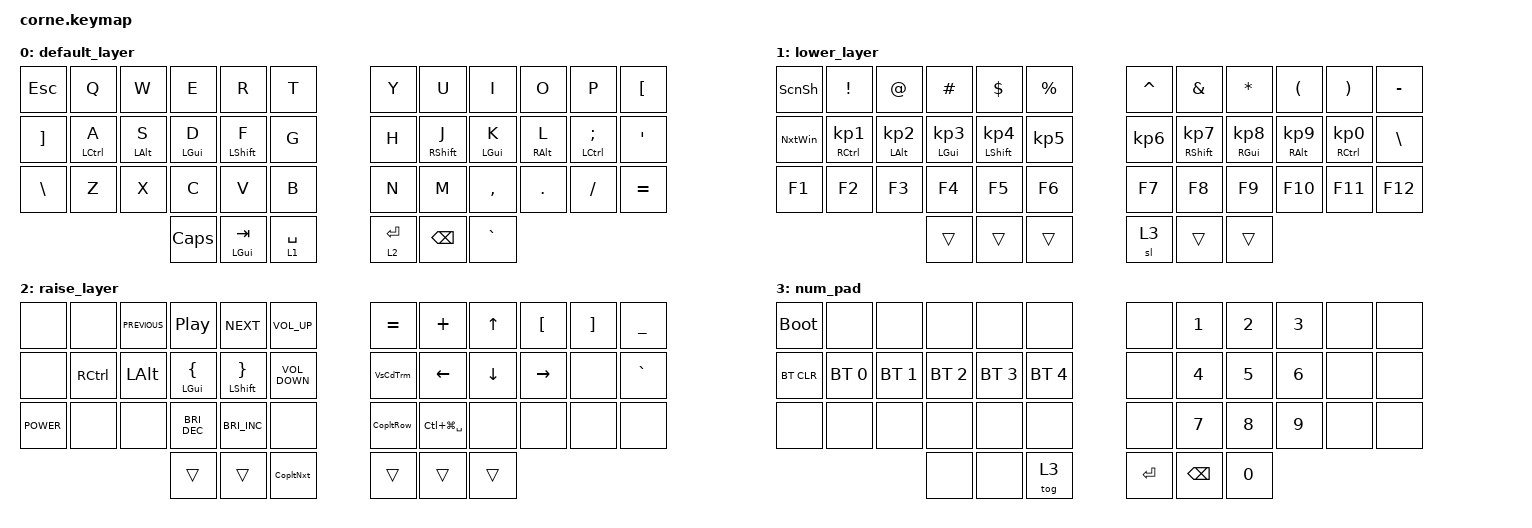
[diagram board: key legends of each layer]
/*
 * Copyright (c) 2020 The ZMK Contributors
 *
 * SPDX-License-Identifier: MIT
 */

#include <behaviors.dtsi>
#include <dt-bindings/zmk/bt.h>
#include <dt-bindings/zmk/keys.h>

/ {
    macros {
        ScnSh: ScnSh {
            compatible = "zmk,behavior-macro";
            #binding-cells = <0>;
            bindings = <&kp LS(LG(NUMBER_4))>;
            label = "SCNSH";
        };

        CopltNxt: CopltNxt {
            compatible = "zmk,behavior-macro";
            #binding-cells = <0>;
            bindings = <&kp LG(RIGHT_ARROW)>;
            label = "COPLTNXT";
        };

        CopltRow: CopltRow {
            compatible = "zmk,behavior-macro";
            #binding-cells = <0>;
            bindings = <&kp TAB &kp ENTER>;
            label = "COPLTROW";
        };

        VsCdTrm: VsCdTrm {
            compatible = "zmk,behavior-macro";
            #binding-cells = <0>;
            bindings = <&kp LC(GRAVE)>;
            label = "VSCDTRM";
        };

        NxtWin: NxtWin {
            compatible = "zmk,behavior-macro";
            #binding-cells = <0>;
            bindings = <&kp LG(GRAVE)>;
            label = "NXTWIN";
        };
    };

    combos {
        compatible = "zmk,combos";

        toggle_num_pad {
            bindings = <&tog 3>;
            key-positions = <37 38>;
        };
    };

    keymap {
        compatible = "zmk,keymap";

        default_layer {
            // -----------------------------------------------------------------------------------------
            // |  TAB |  Q  |  W  |  E  |  R  |  T  |   |  Y  |  U   |  I  |  O  |  P  | BKSP |
            // | CTRL |  A  |  S  |  D  |  F  |  G  |   |  H  |  J   |  K  |  L  |  ;  |  '   |
            // | SHFT |  Z  |  X  |  C  |  V  |  B  |   |  N  |  M   |  ,  |  .  |  /  | ESC  |
            //                    | GUI | LWR | SPC |   | ENT | RSE  | ALT |

            bindings = <
&kp ESCAPE         &kp Q               &kp W           &kp E           &kp R             &kp T          &kp Y        &kp U              &kp I       &kp O            &kp P                &kp LEFT_BRACKET
&kp RIGHT_BRACKET  &mt LEFT_CONTROL A  &mt LEFT_ALT S  &mt LEFT_GUI D  &mt LEFT_SHIFT F  &kp G          &kp H        &mt RIGHT_SHIFT J  &mt LGUI K  &mt RIGHT_ALT L  &mt LCTRL SEMICOLON  &kp SQT
&kp BACKSLASH      &kp Z               &kp X           &kp C           &kp V             &kp B          &kp N        &kp M              &kp COMMA   &kp DOT          &kp FSLH             &kp EQUAL
                                                       &kp CAPSLOCK    &mt LEFT_GUI TAB  &lt 1 SPACE    &lt 2 ENTER  &kp BACKSPACE      &kp GRAVE
            >;
        };

        lower_layer {
            // -----------------------------------------------------------------------------------------
            // |  TAB |  1  |  2  |  3  |  4  |  5  |   |  6  |  7  |  8  |  9  |  0  | BKSP |
            // | BTCLR| BT1 | BT2 | BT3 | BT4 | BT5 |   | LFT | DWN |  UP | RGT |     |      |
            // | SHFT |     |     |     |     |     |   |     |     |     |     |     |      |
            //                    | GUI |     | SPC |   | ENT |     | ALT |

            bindings = <
&ScnSh   &kp EXCLAMATION  &kp AT_SIGN               &kp HASH                  &kp DOLLAR                  &kp PERCENT        &kp CARET        &kp AMPERSAND                &kp ASTERISK               &kp LEFT_PARENTHESIS       &kp RIGHT_PARENTHESIS  &kp MINUS
&NxtWin  &mt RCTRL KP_N1  &mt LEFT_ALT KP_NUMBER_2  &mt LEFT_GUI KP_NUMBER_3  &mt LEFT_SHIFT KP_NUMBER_4  &kp KP_NUMBER_5    &kp KP_NUMBER_6  &mt RIGHT_SHIFT KP_NUMBER_7  &mt RIGHT_GUI KP_NUMBER_8  &mt RIGHT_ALT KP_NUMBER_9  &mt RCTRL KP_NUMBER_0  &kp BACKSLASH
&kp F1   &kp F2           &kp F3                    &kp F4                    &kp F5                      &kp F6             &kp F7           &kp F8                       &kp F9                     &kp F10                    &kp F11                &kp F12
                                                    &trans                    &trans                      &trans             &sl 3            &trans                       &trans
            >;
        };

        raise_layer {
            // -----------------------------------------------------------------------------------------
            // |  TAB |  !  |  @  |  #  |  $  |  %  |   |  ^  |  &  |  *  |  (  |  )  | BKSP |
            // | CTRL |     |     |     |     |     |   |  -  |  =  |  [  |  ]  |  \  |  `   |
            // | SHFT |     |     |     |     |     |   |  _  |  +  |  {  |  }  | "|" |  ~   |
            //                    | GUI |     | SPC |   | ENT |     | ALT |

            bindings = <
&none        &none      &kp C_PREVIOUS  &kp C_PLAY_PAUSE         &kp C_NEXT                  &kp C_VOLUME_UP      &kp EQUAL  &kp PLUS           &kp UP_ARROW  &kp LEFT_BRACKET  &kp RIGHT_BRACKET  &kp UNDERSCORE
&none        &kp RCTRL  &kp LEFT_ALT    &mt LEFT_GUI LEFT_BRACE  &mt LEFT_SHIFT RIGHT_BRACE  &kp C_VOLUME_DOWN    &VsCdTrm   &kp LEFT_ARROW     &kp DOWN      &kp RIGHT_ARROW   &none              &kp GRAVE
&kp K_POWER  &none      &none           &kp C_BRIGHTNESS_DEC     &kp C_BRIGHTNESS_INC        &none                &CopltRow  &kp LC(LG(SPACE))  &none         &none             &none              &none
                                        &trans                   &trans                      &CopltNxt            &trans     &trans             &trans
            >;
        };

        num_pad {
            bindings = <
&bootloader  &none         &none         &none         &none         &none           &none      &kp N1    &kp N2  &kp N3  &none  &none
&bt BT_CLR   &bt BT_SEL 0  &bt BT_SEL 1  &bt BT_SEL 2  &bt BT_SEL 3  &bt BT_SEL 4    &none      &kp N4    &kp N5  &kp N6  &none  &none
&none        &none         &none         &none         &none         &none           &none      &kp N7    &kp N8  &kp N9  &none  &none
                                         &none         &none         &tog 3          &kp ENTER  &kp BSPC  &kp N0
            >;
        };
    };
};
